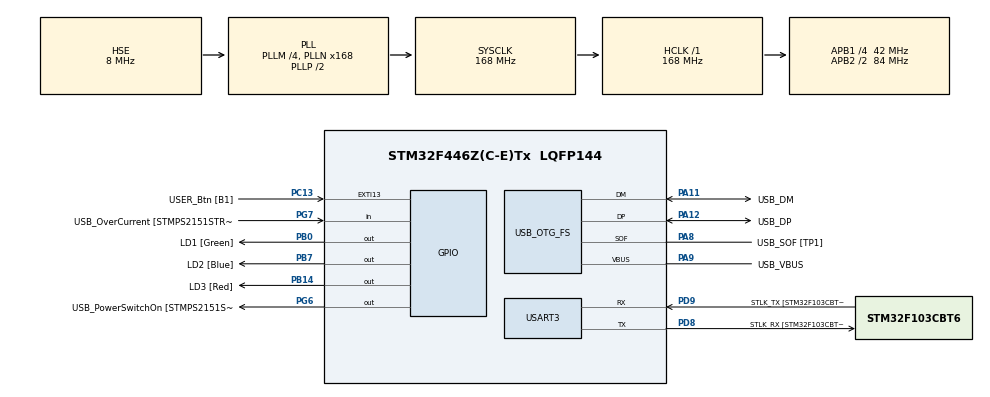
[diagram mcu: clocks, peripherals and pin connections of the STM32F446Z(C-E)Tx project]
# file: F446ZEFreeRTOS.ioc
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FREERTOS.BinarySemaphores01=BinSem,Dynamic,NULL
FREERTOS.Tasks01=task1,24,128,StartTask1,Default,NULL,Dynamic,NULL,NULL;normalTask,24,128,StartNormalTask,Default,NULL,Dynamic,NULL,NULL;highTask,40,128,StartHighTask,Default,NULL,Dynamic,NULL,NULL;lowTask,8,128,StartLowTask,Default,NULL,Dynamic,NULL,NULL
FREERTOS.configUSE_NEWLIB_REENTRANT=1
Mcu.Family=STM32F4
Mcu.Name=STM32F446Z(C-E)Tx
Mcu.Package=LQFP144
NVIC.PriorityGroup=NVIC_PRIORITYGROUP_4
NVIC.TIM6_DAC_IRQn=true\:15\:0\:false\:false\:true\:false\:false\:true\:true
NVIC.TimeBase=TIM6_DAC_IRQn
NVIC.TimeBaseIP=TIM6
PA10.GPIO_Label=USB_ID
PA10.Signal=USB_OTG_FS_ID
PA11.GPIO_Label=USB_DM
PA11.Mode=Device_Only
PA11.Signal=USB_OTG_FS_DM
PA12.GPIO_Label=USB_DP
PA12.Mode=Device_Only
PA12.Signal=USB_OTG_FS_DP
PA13.GPIO_Label=TMS
PA13.Mode=Serial_Wire
PA13.Signal=SYS_JTMS-SWDIO
PA14.GPIO_Label=TCK
PA14.Mode=Serial_Wire
PA14.Signal=SYS_JTCK-SWCLK
PA8.GPIO_Label=USB_SOF [TP1]
PA8.Mode=Activate_SOF_FS
PA8.Signal=USB_OTG_FS_SOF
PA9.GPIO_Label=USB_VBUS
PA9.Mode=Activate_VBUS
PA9.Signal=USB_OTG_FS_VBUS
PB0.GPIO_Label=LD1 [Green]
PB0.Signal=GPIO_Output
PB14.GPIO_Label=LD3 [Red]
PB14.Signal=GPIO_Output
PB7.GPIO_Label=LD2 [Blue]
PB7.Signal=GPIO_Output
PC13.GPIO_Label=USER_Btn [B1]
PC13.Signal=GPXTI13
PC14-OSC32_IN.Mode=LSE-External-Oscillator
PC14-OSC32_IN.Signal=RCC_OSC32_IN
PC15-OSC32_OUT.Mode=LSE-External-Oscillator
PC15-OSC32_OUT.Signal=RCC_OSC32_OUT
PD8.GPIO_Label=STLK_RX [STM32F103CBT6_PA3]
PD8.Mode=Asynchronous
PD8.Signal=USART3_TX
PD9.GPIO_Label=STLK_TX [STM32F103CBT6_PA2]
PD9.Mode=Asynchronous
PD9.Signal=USART3_RX
PG6.GPIO_Label=USB_PowerSwitchOn [STMPS2151STR_EN]
PG6.Signal=GPIO_Output
PG7.GPIO_Label=USB_OverCurrent [STMPS2151STR_FAULT]
PG7.Signal=GPIO_Input
PH0-OSC_IN.GPIO_Label=MCO [STM32F103CBT6_PA8]
PH0-OSC_IN.Mode=HSE-External-Clock-Source
PH0-OSC_IN.Signal=RCC_OSC_IN
PH1-OSC_OUT.Mode=HSE-External-Clock-Source
PH1-OSC_OUT.Signal=RCC_OSC_OUT
ProjectManager.HeapSize=0x200
ProjectManager.StackSize=0x400
ProjectManager.TargetToolchain=STM32CubeIDE
RCC.48MHZClocksFreq_Value=24000000
RCC.AHBFreq_Value=168000000
RCC.APB1CLKDivider=RCC_HCLK_DIV4
RCC.APB1Freq_Value=42000000
RCC.APB1TimFreq_Value=84000000
RCC.APB2CLKDivider=RCC_HCLK_DIV2
RCC.APB2Freq_Value=84000000
RCC.APB2TimFreq_Value=168000000
RCC.CortexFreq_Value=168000000
RCC.HCLKFreq_Value=168000000
RCC.HSE_VALUE=8000000
RCC.HSI_VALUE=16000000
RCC.PLLM=4
RCC.PLLMUL=RCC_PLL_MUL9
RCC.PLLN=168
RCC.PLLQ=7
RCC.PRESCALERUSB=RCC_USBCLKSOURCE_PLL_DIV1_5
RCC.SYSCLKFreq_VALUE=168000000
RCC.SYSCLKSource=RCC_SYSCLKSOURCE_PLLCLK
RCC.SYSCLKSourceVirtual=RCC_SYSCLKSOURCE_PLLCLK
RCC.USBFreq_Value=48000000
RCC.VCOOutputFreq_Value=336000000
USART3.VirtualMode=VM_ASYNC
USB_OTG_FS.VirtualMode=Device_Only
VP_FREERTOS_VS_CMSIS_V2.Mode=CMSIS_V2
VP_SYS_VS_tim6.Mode=TIM6
board=NUCLEO-F446ZE

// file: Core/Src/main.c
/* USER CODE BEGIN Header */
/**
  ******************************************************************************
  * @file           : main.c
  * @brief          : Main program body
  ******************************************************************************
  * @attention
  *
  * Copyright (c) 2023 STMicroelectronics.
  * All rights reserved.
  *
  * This software is licensed under terms that can be found in the LICENSE file
  * in the root directory of this software component.
  * If no LICENSE file comes with this software, it is provided AS-IS.
  *
  ******************************************************************************
  */
/* USER CODE END Header */
#include "main.h"
#include "cmsis_os.h"
#include "usart.h"
#include "usb_otg.h"
#include "gpio.h"

void SystemClock_Config(void);
void MX_FREERTOS_Init(void);

int main(void)
{

  /* MCU Configuration--------------------------------------------------------*/

  /* Reset of all peripherals, Initializes the Flash interface and the Systick. */
  HAL_Init();

  /* Configure the system clock */
  SystemClock_Config();

  /* Initialize all configured peripherals */
  MX_GPIO_Init();
  MX_USART3_UART_Init();
  MX_USB_OTG_FS_PCD_Init();

  /* Init scheduler */
  osKernelInitialize();  /* Call init function for freertos objects (in freertos.c) */
  MX_FREERTOS_Init();

  /* Start scheduler */
  osKernelStart();

  /* We should never get here as control is now taken by the scheduler */
  /* Infinite loop */
  while (1)
  {

  }
}

void SystemClock_Config(void)
{
  RCC_OscInitTypeDef RCC_OscInitStruct = {0};
  RCC_ClkInitTypeDef RCC_ClkInitStruct = {0};

  /** Configure the main internal regulator output voltage
  */
  __HAL_RCC_PWR_CLK_ENABLE();
  __HAL_PWR_VOLTAGESCALING_CONFIG(PWR_REGULATOR_VOLTAGE_SCALE1);

  /** Initializes the RCC Oscillators according to the specified parameters
  * in the RCC_OscInitTypeDef structure.
  */
  RCC_OscInitStruct.OscillatorType = RCC_OSCILLATORTYPE_HSE;
  RCC_OscInitStruct.HSEState = RCC_HSE_BYPASS;
  RCC_OscInitStruct.PLL.PLLState = RCC_PLL_ON;
  RCC_OscInitStruct.PLL.PLLSource = RCC_PLLSOURCE_HSE;
  RCC_OscInitStruct.PLL.PLLM = 4;
  RCC_OscInitStruct.PLL.PLLN = 168;
  RCC_OscInitStruct.PLL.PLLP = RCC_PLLP_DIV2;
  RCC_OscInitStruct.PLL.PLLQ = 7;
  RCC_OscInitStruct.PLL.PLLR = 2;
  if (HAL_RCC_OscConfig(&RCC_OscInitStruct) != HAL_OK)
  {
    Error_Handler();
  }

  /** Initializes the CPU, AHB and APB buses clocks
  */
  RCC_ClkInitStruct.ClockType = RCC_CLOCKTYPE_HCLK|RCC_CLOCKTYPE_SYSCLK
                              |RCC_CLOCKTYPE_PCLK1|RCC_CLOCKTYPE_PCLK2;
  RCC_ClkInitStruct.SYSCLKSource = RCC_SYSCLKSOURCE_PLLCLK;
  RCC_ClkInitStruct.AHBCLKDivider = RCC_SYSCLK_DIV1;
  RCC_ClkInitStruct.APB1CLKDivider = RCC_HCLK_DIV4;
  RCC_ClkInitStruct.APB2CLKDivider = RCC_HCLK_DIV2;

  if (HAL_RCC_ClockConfig(&RCC_ClkInitStruct, FLASH_LATENCY_5) != HAL_OK)
  {
    Error_Handler();
  }
}

void HAL_TIM_PeriodElapsedCallback(TIM_HandleTypeDef *htim)
{
  if (htim->Instance == TIM6) {
    HAL_IncTick();
  }
}

void Error_Handler(void)
{
  __disable_irq();
  while (1)
  {
  }
}

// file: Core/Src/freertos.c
/* USER CODE BEGIN Header */
/**
  ******************************************************************************
  * File Name          : freertos.c
  * Description        : Code for freertos applications
  ******************************************************************************
  * @attention
  *
  * Copyright (c) 2023 STMicroelectronics.
  * All rights reserved.
  *
  * This software is licensed under terms that can be found in the LICENSE file
  * in the root directory of this software component.
  * If no LICENSE file comes with this software, it is provided AS-IS.
  *
  ******************************************************************************
  */
/* USER CODE END Header */

#include "FreeRTOS.h"
#include "task.h"
#include "main.h"
#include "cmsis_os2.h"
#include "usart.h"

/* USER CODE BEGIN Variables */
uint32_t indx;
/* USER CODE END Variables */
/* Definitions for task1 */
osThreadId_t task1Handle;
const osThreadAttr_t task1_attributes = {
  .name = "task1",
  .stack_size = 128 * 4,
  .priority = (osPriority_t) osPriorityNormal,
};
/* Definitions for normalTask */
osThreadId_t normalTaskHandle;
const osThreadAttr_t normalTask_attributes = {
  .name = "normalTask",
  .stack_size = 128 * 4,
  .priority = (osPriority_t) osPriorityNormal,
};
/* Definitions for highTask */
osThreadId_t highTaskHandle;
const osThreadAttr_t highTask_attributes = {
  .name = "highTask",
  .stack_size = 128 * 4,
  .priority = (osPriority_t) osPriorityHigh,
};
/* Definitions for lowTask */
osThreadId_t lowTaskHandle;
const osThreadAttr_t lowTask_attributes = {
  .name = "lowTask",
  .stack_size = 128 * 4,
  .priority = (osPriority_t) osPriorityLow,
};
/* Definitions for BinSem */
osSemaphoreId_t BinSemHandle;
const osSemaphoreAttr_t BinSem_attributes = {
  .name = "BinSem"
};

void StartTask1(void *argument);
void StartNormalTask(void *argument);
void StartHighTask(void *argument);
void StartLowTask(void *argument);

void MX_FREERTOS_Init(void); /* (MISRA C 2004 rule 8.1) */

void MX_FREERTOS_Init(void) {

  /* Create the semaphores(s) */
  /* creation of BinSem */
  BinSemHandle = osSemaphoreNew(1, 1, &BinSem_attributes);

  /* Create the thread(s) */
  /* creation of task1 */
  task1Handle = osThreadNew(StartTask1, NULL, &task1_attributes);

  /* creation of normalTask */
  normalTaskHandle = osThreadNew(StartNormalTask, NULL, &normalTask_attributes);

  /* creation of highTask */
  highTaskHandle = osThreadNew(StartHighTask, NULL, &highTask_attributes);

  /* creation of lowTask */
  lowTaskHandle = osThreadNew(StartLowTask, NULL, &lowTask_attributes);

}

void StartTask1(void *argument)
{
  /* USER CODE BEGIN StartTask1 */
  /* Infinite loop */
  for(;;)
  {
	HAL_GPIO_TogglePin(LD1_GPIO_Port,LD1_Pin);
    //osDelay(50);
  }
  /* USER CODE END StartTask1 */
}

void StartNormalTask(void *argument)
{
  /* USER CODE BEGIN StartNormalTask */
  /* Infinite loop */
  for(;;)
  {
	char *str1 = "Entered MediumTask\n";
	HAL_UART_Transmit(&huart3, (uint8_t *) str1, strlen (str1), 100);

	char *str2 = "Leaving MediumTask\n\n";
	HAL_UART_Transmit(&huart3, (uint8_t *) str2, strlen (str2), 100);
	osDelay(500);
  }
  /* USER CODE END StartNormalTask */
}

void StartHighTask(void *argument)
{
  /* USER CODE BEGIN StartHighTask */
  /* Infinite loop */
  for(;;)
  {
	char *str1 = "Entered HighTask and waiting for Semaphore\n";
	HAL_UART_Transmit(&huart3, (uint8_t *) str1, strlen (str1), 100);

	osSemaphoreAcquire(BinSemHandle, osWaitForever);

	char *str3 = "Semaphore acquired by HIGH Task\n";
	HAL_UART_Transmit(&huart3, (uint8_t *) str3, strlen (str3), 100);

	char *str2 = "Leaving HighTask and releasing Semaphore\n\n";
	HAL_UART_Transmit(&huart3, (uint8_t *) str2, strlen (str2), 100);

	osSemaphoreRelease(BinSemHandle);
	osDelay(500);
  }
  /* USER CODE END StartHighTask */
}

void StartLowTask(void *argument)
{
  /* USER CODE BEGIN StartLowTask */
  /* Infinite loop */
  for(;;)
  {
	char *str1 = "Entered LOWTask and waiting for semaphore\n";
	HAL_UART_Transmit(&huart3, (uint8_t *) str1, strlen (str1), 100);

	osSemaphoreAcquire(BinSemHandle, osWaitForever);
	char *str3 = "Semaphore acquired by LOW Task\n";
	HAL_UART_Transmit(&huart3, (uint8_t *) str3, strlen (str3), 100);

	while (HAL_GPIO_ReadPin(GPIOC, GPIO_PIN_13));  // wait till the pin go low

	char *str2 = "Leaving LOWTask and releasing Semaphore\n\n";
	HAL_UART_Transmit(&huart3, (uint8_t *) str2, strlen (str2), 100);

	osSemaphoreRelease(BinSemHandle);
	osDelay(500);
  }
  /* USER CODE END StartLowTask */
}
